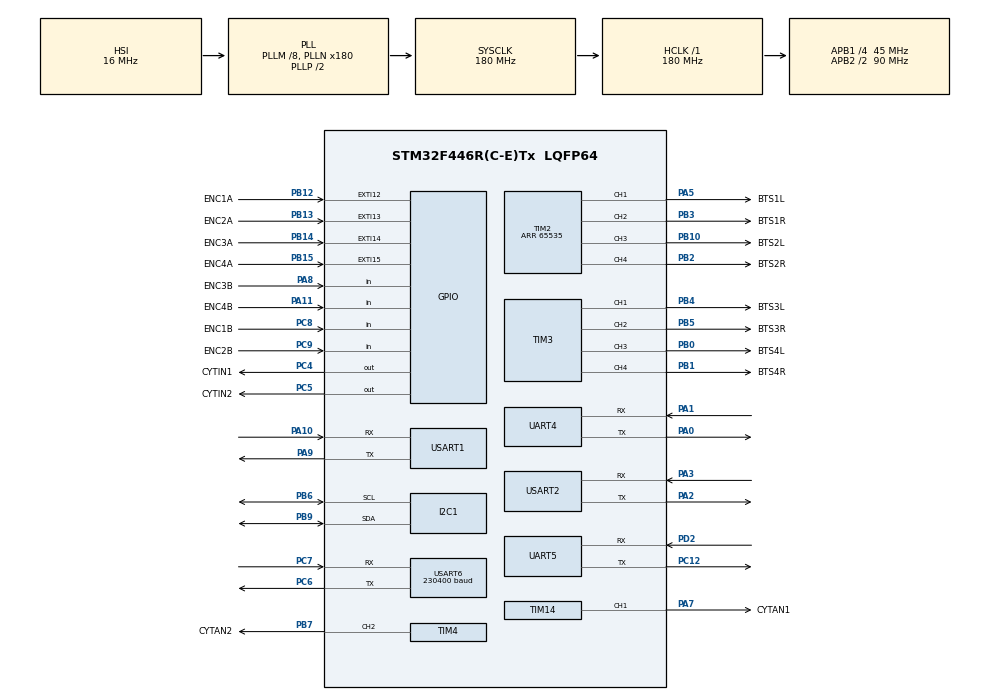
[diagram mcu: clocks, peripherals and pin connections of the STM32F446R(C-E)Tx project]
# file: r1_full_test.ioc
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I2C1.I2C_Mode=I2C_Fast
Mcu.Family=STM32F4
Mcu.Name=STM32F446R(C-E)Tx
Mcu.Package=LQFP64
NVIC.EXTI15_10_IRQn=true\:0\:0\:false\:false\:true\:true\:true\:true
NVIC.PriorityGroup=NVIC_PRIORITYGROUP_4
NVIC.UART4_IRQn=true\:0\:0\:false\:false\:true\:true\:true\:true
PA0-WKUP.Mode=Asynchronous
PA0-WKUP.Signal=UART4_TX
PA1.Mode=Asynchronous
PA1.Signal=UART4_RX
PA10.Mode=Asynchronous
PA10.Signal=USART1_RX
PA11.GPIO_Label=ENC4B
PA11.GPIO_PuPd=GPIO_PULLUP
PA11.Signal=GPIO_Input
PA2.Mode=Asynchronous
PA2.Signal=USART2_TX
PA3.Mode=Asynchronous
PA3.Signal=USART2_RX
PA5.GPIO_Label=BTS1L
PA5.Signal=S_TIM2_CH1_ETR
PA7.GPIO_Label=CYTAN1
PA7.Signal=S_TIM14_CH1
PA8.GPIO_Label=ENC3B
PA8.GPIO_PuPd=GPIO_PULLUP
PA8.Signal=GPIO_Input
PA9.Mode=Asynchronous
PA9.Signal=USART1_TX
PB0.GPIO_Label=BTS4L
PB0.Signal=S_TIM3_CH3
PB1.GPIO_Label=BTS4R
PB1.Signal=S_TIM3_CH4
PB10.GPIO_Label=BTS2L
PB10.Signal=S_TIM2_CH3
PB12.GPIO_Label=ENC1A
PB12.GPIO_PuPd=GPIO_PULLUP
PB12.Signal=GPXTI12
PB13.GPIO_Label=ENC2A
PB13.GPIO_PuPd=GPIO_PULLUP
PB13.Signal=GPXTI13
PB14.GPIO_Label=ENC3A
PB14.GPIO_PuPd=GPIO_PULLUP
PB14.Signal=GPXTI14
PB15.GPIO_Label=ENC4A
PB15.GPIO_PuPd=GPIO_PULLUP
PB15.Signal=GPXTI15
PB2.GPIO_Label=BTS2R
PB2.Signal=S_TIM2_CH4
PB3.GPIO_Label=BTS1R
PB3.Signal=S_TIM2_CH2
PB4.GPIO_Label=BTS3L
PB4.Signal=S_TIM3_CH1
PB5.GPIO_Label=BTS3R
PB5.Signal=S_TIM3_CH2
PB6.Mode=I2C
PB6.Signal=I2C1_SCL
PB7.GPIO_Label=CYTAN2
PB7.Signal=S_TIM4_CH2
PB9.Mode=I2C
PB9.Signal=I2C1_SDA
PC12.Mode=Asynchronous
PC12.Signal=UART5_TX
PC4.GPIO_Label=CYTIN1
PC4.Signal=GPIO_Output
PC5.GPIO_Label=CYTIN2
PC5.Signal=GPIO_Output
PC6.Mode=Asynchronous
PC6.Signal=USART6_TX
PC7.Mode=Asynchronous
PC7.Signal=USART6_RX
PC8.GPIO_Label=ENC1B
PC8.GPIO_PuPd=GPIO_PULLUP
PC8.Signal=GPIO_Input
PC9.GPIO_Label=ENC2B
PC9.GPIO_PuPd=GPIO_PULLUP
PC9.Signal=GPIO_Input
PD2.Mode=Asynchronous
PD2.Signal=UART5_RX
ProjectManager.HeapSize=0x200
ProjectManager.StackSize=0x400
ProjectManager.TargetToolchain=STM32CubeIDE
RCC.AHBFreq_Value=180000000
RCC.APB1CLKDivider=RCC_HCLK_DIV4
RCC.APB1Freq_Value=45000000
RCC.APB1TimFreq_Value=90000000
RCC.APB2CLKDivider=RCC_HCLK_DIV2
RCC.APB2Freq_Value=90000000
RCC.APB2TimFreq_Value=180000000
RCC.CortexFreq_Value=180000000
RCC.HCLKFreq_Value=180000000
RCC.PLLM=8
RCC.PLLN=180
RCC.SYSCLKFreq_VALUE=180000000
RCC.SYSCLKSource=RCC_SYSCLKSOURCE_PLLCLK
RCC.USBFreq_Value=180000000
RCC.VCOOutputFreq_Value=360000000
SH.S_TIM14_CH1.0=TIM14_CH1,PWM Generation1 CH1
SH.S_TIM2_CH1_ETR.0=TIM2_CH1,PWM Generation1 CH1
SH.S_TIM2_CH2.0=TIM2_CH2,PWM Generation2 CH2
SH.S_TIM2_CH3.0=TIM2_CH3,PWM Generation3 CH3
SH.S_TIM2_CH4.0=TIM2_CH4,PWM Generation4 CH4
SH.S_TIM3_CH1.0=TIM3_CH1,PWM Generation1 CH1
SH.S_TIM3_CH2.0=TIM3_CH2,PWM Generation2 CH2
SH.S_TIM3_CH3.0=TIM3_CH3,PWM Generation3 CH3
SH.S_TIM3_CH4.0=TIM3_CH4,PWM Generation4 CH4
SH.S_TIM4_CH2.0=TIM4_CH2,PWM Generation2 CH2
TIM14.Channel=TIM_CHANNEL_1
TIM2.Channel-PWM\ Generation1\ CH1=TIM_CHANNEL_1
TIM2.Channel-PWM\ Generation2\ CH2=TIM_CHANNEL_2
TIM2.Channel-PWM\ Generation3\ CH3=TIM_CHANNEL_3
TIM2.Channel-PWM\ Generation4\ CH4=TIM_CHANNEL_4
TIM2.Period=65535
TIM3.Channel-PWM\ Generation1\ CH1=TIM_CHANNEL_1
TIM3.Channel-PWM\ Generation2\ CH2=TIM_CHANNEL_2
TIM3.Channel-PWM\ Generation3\ CH3=TIM_CHANNEL_3
TIM3.Channel-PWM\ Generation4\ CH4=TIM_CHANNEL_4
TIM4.Channel-PWM\ Generation2\ CH2=TIM_CHANNEL_2
UART4.VirtualMode=Asynchronous
UART5.VirtualMode=Asynchronous
USART1.VirtualMode=VM_ASYNC
USART2.VirtualMode=VM_ASYNC
USART6.BaudRate=230400
USART6.VirtualMode=VM_ASYNC
VP_TIM13_VS_ClockSourceINT.Mode=Enable_Timer
VP_TIM14_VS_ClockSourceINT.Mode=Enable_Timer
VP_TIM3_VS_ClockSourceINT.Mode=Internal
VP_TIM4_VS_ClockSourceINT.Mode=Internal
board=custom

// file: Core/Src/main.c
/* USER CODE BEGIN Header */
/**
 ******************************************************************************
 * @file           : main.c
 * @brief          : Main program body
 ******************************************************************************
 * @attention
 *
 * Copyright (c) 2026 STMicroelectronics.
 * All rights reserved.
 *
 * This software is licensed under terms that can be found in the LICENSE file
 * in the root directory of this software component.
 * If no LICENSE file comes with this software, it is provided AS-IS.
 *
 ******************************************************************************
 */
/* USER CODE END Header */
#include "main.h"

I2C_HandleTypeDef hi2c1;

TIM_HandleTypeDef htim2;
TIM_HandleTypeDef htim3;
TIM_HandleTypeDef htim4;
TIM_HandleTypeDef htim13;
TIM_HandleTypeDef htim14;

UART_HandleTypeDef huart4;
UART_HandleTypeDef huart5;
UART_HandleTypeDef huart1;
UART_HandleTypeDef huart2;
UART_HandleTypeDef huart6;

void SystemClock_Config(void);
static void MX_GPIO_Init(void);
static void MX_USART1_UART_Init(void);
static void MX_I2C1_Init(void);
static void MX_UART4_Init(void);
static void MX_UART5_Init(void);
static void MX_USART2_UART_Init(void);
static void MX_USART6_UART_Init(void);
static void MX_TIM2_Init(void);
static void MX_TIM13_Init(void);
static void MX_TIM3_Init(void);
static void MX_TIM14_Init(void);
static void MX_TIM4_Init(void);

/* USER CODE BEGIN 0 */
uint32_t count1=0,count2=0,count3=0,count4=0;
void HAL_GPIO_EXTI_Callback(uint16_t GPIO_Pin){
	if(GPIO_Pin==ENC1A_Pin){
		if(HAL_GPIO_ReadPin(ENC1B_GPIO_Port, ENC1B_Pin)==1){
			count1++;
		}
		else{
			count1--;
		}
	}
	if(GPIO_Pin==ENC2A_Pin){
		if(HAL_GPIO_ReadPin(ENC2B_GPIO_Port, ENC2B_Pin)==1){
			count2++;
		}
		else{
			count2--;
		}
	}
	if(GPIO_Pin==ENC3A_Pin){
		if(HAL_GPIO_ReadPin(ENC3B_GPIO_Port, ENC3B_Pin)==1){
			count3++;
		}
		else{
			count3--;
		}
	}
	if(GPIO_Pin==ENC4A_Pin){
		if(HAL_GPIO_ReadPin(ENC4B_GPIO_Port, ENC4B_Pin)==1){
			count4++;
		}
		else{
			count4--;
		}
	}
}

// Send printf to uart1
int _write(int fd, char* ptr, int len) {
	HAL_StatusTypeDef hstatus;

	if (fd == 1 || fd == 2) {
		hstatus = HAL_UART_Transmit(&huart2, (uint8_t *) ptr, len, HAL_MAX_DELAY);
		if (hstatus == HAL_OK)
			return len;
		else
			return -1;
	}
	return -1;
}
/* USER CODE END 0 */

int main(void)
{

  /* MCU Configuration--------------------------------------------------------*/

  /* Reset of all peripherals, Initializes the Flash interface and the Systick. */
  HAL_Init();

  /* Configure the system clock */
  SystemClock_Config();

  /* Initialize all configured peripherals */
  MX_GPIO_Init();
  MX_USART1_UART_Init();
  MX_I2C1_Init();
  MX_UART4_Init();
  MX_UART5_Init();
  MX_USART2_UART_Init();
  MX_USART6_UART_Init();
  MX_TIM2_Init();
  MX_TIM13_Init();
  MX_TIM3_Init();
  MX_TIM14_Init();
  MX_TIM4_Init();
  /* USER CODE BEGIN 2 */
	HAL_TIM_PWM_Start(&htim2,TIM_CHANNEL_1);
	HAL_TIM_PWM_Start(&htim2,TIM_CHANNEL_2);
	HAL_TIM_PWM_Start(&htim2,TIM_CHANNEL_3);
	HAL_TIM_PWM_Start(&htim2,TIM_CHANNEL_4);

	HAL_TIM_PWM_Start(&htim3,TIM_CHANNEL_1);
	HAL_TIM_PWM_Start(&htim3,TIM_CHANNEL_2);
	HAL_TIM_PWM_Start(&htim3,TIM_CHANNEL_3);
	HAL_TIM_PWM_Start(&htim3,TIM_CHANNEL_4);
  /* USER CODE END 2 */

  /* Infinite loop */
  /* USER CODE BEGIN WHILE */
	while (1)
	{
		printf("count1 : %d\tcount2 : %d\tcount3 : %d\tcount4 : %d\r\n",count1,count2,count3,count4);
    /* USER CODE END WHILE */

	}
}

void SystemClock_Config(void)
{
  RCC_OscInitTypeDef RCC_OscInitStruct = {0};
  RCC_ClkInitTypeDef RCC_ClkInitStruct = {0};

  /** Configure the main internal regulator output voltage
  */
  __HAL_RCC_PWR_CLK_ENABLE();
  __HAL_PWR_VOLTAGESCALING_CONFIG(PWR_REGULATOR_VOLTAGE_SCALE1);

  /** Initializes the RCC Oscillators according to the specified parameters
  * in the RCC_OscInitTypeDef structure.
  */
  RCC_OscInitStruct.OscillatorType = RCC_OSCILLATORTYPE_HSI;
  RCC_OscInitStruct.HSIState = RCC_HSI_ON;
  RCC_OscInitStruct.HSICalibrationValue = RCC_HSICALIBRATION_DEFAULT;
  RCC_OscInitStruct.PLL.PLLState = RCC_PLL_ON;
  RCC_OscInitStruct.PLL.PLLSource = RCC_PLLSOURCE_HSI;
  RCC_OscInitStruct.PLL.PLLM = 8;
  RCC_OscInitStruct.PLL.PLLN = 180;
  RCC_OscInitStruct.PLL.PLLP = RCC_PLLP_DIV2;
  RCC_OscInitStruct.PLL.PLLQ = 2;
  RCC_OscInitStruct.PLL.PLLR = 2;
  if (HAL_RCC_OscConfig(&RCC_OscInitStruct) != HAL_OK)
  {
    Error_Handler();
  }

  /** Activate the Over-Drive mode
  */
  if (HAL_PWREx_EnableOverDrive() != HAL_OK)
  {
    Error_Handler();
  }

  /** Initializes the CPU, AHB and APB buses clocks
  */
  RCC_ClkInitStruct.ClockType = RCC_CLOCKTYPE_HCLK|RCC_CLOCKTYPE_SYSCLK
                              |RCC_CLOCKTYPE_PCLK1|RCC_CLOCKTYPE_PCLK2;
  RCC_ClkInitStruct.SYSCLKSource = RCC_SYSCLKSOURCE_PLLCLK;
  RCC_ClkInitStruct.AHBCLKDivider = RCC_SYSCLK_DIV1;
  RCC_ClkInitStruct.APB1CLKDivider = RCC_HCLK_DIV4;
  RCC_ClkInitStruct.APB2CLKDivider = RCC_HCLK_DIV2;

  if (HAL_RCC_ClockConfig(&RCC_ClkInitStruct, FLASH_LATENCY_5) != HAL_OK)
  {
    Error_Handler();
  }
}

static void MX_I2C1_Init(void)
{

  hi2c1.Instance = I2C1;
  hi2c1.Init.ClockSpeed = 400000;
  hi2c1.Init.DutyCycle = I2C_DUTYCYCLE_2;
  hi2c1.Init.OwnAddress1 = 0;
  hi2c1.Init.AddressingMode = I2C_ADDRESSINGMODE_7BIT;
  hi2c1.Init.DualAddressMode = I2C_DUALADDRESS_DISABLE;
  hi2c1.Init.OwnAddress2 = 0;
  hi2c1.Init.GeneralCallMode = I2C_GENERALCALL_DISABLE;
  hi2c1.Init.NoStretchMode = I2C_NOSTRETCH_DISABLE;
  if (HAL_I2C_Init(&hi2c1) != HAL_OK)
  {
    Error_Handler();
  }

}

static void MX_TIM2_Init(void)
{

  TIM_MasterConfigTypeDef sMasterConfig = {0};
  TIM_OC_InitTypeDef sConfigOC = {0};

  htim2.Instance = TIM2;
  htim2.Init.Prescaler = 0;
  htim2.Init.CounterMode = TIM_COUNTERMODE_UP;
  htim2.Init.Period = 65535;
  htim2.Init.ClockDivision = TIM_CLOCKDIVISION_DIV1;
  htim2.Init.AutoReloadPreload = TIM_AUTORELOAD_PRELOAD_DISABLE;
  if (HAL_TIM_PWM_Init(&htim2) != HAL_OK)
  {
    Error_Handler();
  }
  sMasterConfig.MasterOutputTrigger = TIM_TRGO_RESET;
  sMasterConfig.MasterSlaveMode = TIM_MASTERSLAVEMODE_DISABLE;
  if (HAL_TIMEx_MasterConfigSynchronization(&htim2, &sMasterConfig) != HAL_OK)
  {
    Error_Handler();
  }
  sConfigOC.OCMode = TIM_OCMODE_PWM1;
  sConfigOC.Pulse = 0;
  sConfigOC.OCPolarity = TIM_OCPOLARITY_HIGH;
  sConfigOC.OCFastMode = TIM_OCFAST_DISABLE;
  if (HAL_TIM_PWM_ConfigChannel(&htim2, &sConfigOC, TIM_CHANNEL_1) != HAL_OK)
  {
    Error_Handler();
  }
  if (HAL_TIM_PWM_ConfigChannel(&htim2, &sConfigOC, TIM_CHANNEL_2) != HAL_OK)
  {
    Error_Handler();
  }
  if (HAL_TIM_PWM_ConfigChannel(&htim2, &sConfigOC, TIM_CHANNEL_3) != HAL_OK)
  {
    Error_Handler();
  }
  if (HAL_TIM_PWM_ConfigChannel(&htim2, &sConfigOC, TIM_CHANNEL_4) != HAL_OK)
  {
    Error_Handler();
  }
  HAL_TIM_MspPostInit(&htim2);

}

static void MX_TIM3_Init(void)
{

  TIM_ClockConfigTypeDef sClockSourceConfig = {0};
  TIM_MasterConfigTypeDef sMasterConfig = {0};
  TIM_OC_InitTypeDef sConfigOC = {0};

  htim3.Instance = TIM3;
  htim3.Init.Prescaler = 0;
  htim3.Init.CounterMode = TIM_COUNTERMODE_UP;
  htim3.Init.Period = 65535;
  htim3.Init.ClockDivision = TIM_CLOCKDIVISION_DIV1;
  htim3.Init.AutoReloadPreload = TIM_AUTORELOAD_PRELOAD_DISABLE;
  if (HAL_TIM_Base_Init(&htim3) != HAL_OK)
  {
    Error_Handler();
  }
  sClockSourceConfig.ClockSource = TIM_CLOCKSOURCE_INTERNAL;
  if (HAL_TIM_ConfigClockSource(&htim3, &sClockSourceConfig) != HAL_OK)
  {
    Error_Handler();
  }
  if (HAL_TIM_PWM_Init(&htim3) != HAL_OK)
  {
    Error_Handler();
  }
  sMasterConfig.MasterOutputTrigger = TIM_TRGO_RESET;
  sMasterConfig.MasterSlaveMode = TIM_MASTERSLAVEMODE_DISABLE;
  if (HAL_TIMEx_MasterConfigSynchronization(&htim3, &sMasterConfig) != HAL_OK)
  {
    Error_Handler();
  }
  sConfigOC.OCMode = TIM_OCMODE_PWM1;
  sConfigOC.Pulse = 0;
  sConfigOC.OCPolarity = TIM_OCPOLARITY_HIGH;
  sConfigOC.OCFastMode = TIM_OCFAST_DISABLE;
  if (HAL_TIM_PWM_ConfigChannel(&htim3, &sConfigOC, TIM_CHANNEL_1) != HAL_OK)
  {
    Error_Handler();
  }
  if (HAL_TIM_PWM_ConfigChannel(&htim3, &sConfigOC, TIM_CHANNEL_2) != HAL_OK)
  {
    Error_Handler();
  }
  if (HAL_TIM_PWM_ConfigChannel(&htim3, &sConfigOC, TIM_CHANNEL_3) != HAL_OK)
  {
    Error_Handler();
  }
  if (HAL_TIM_PWM_ConfigChannel(&htim3, &sConfigOC, TIM_CHANNEL_4) != HAL_OK)
  {
    Error_Handler();
  }
  HAL_TIM_MspPostInit(&htim3);

}

static void MX_TIM4_Init(void)
{

  TIM_ClockConfigTypeDef sClockSourceConfig = {0};
  TIM_MasterConfigTypeDef sMasterConfig = {0};
  TIM_OC_InitTypeDef sConfigOC = {0};

  htim4.Instance = TIM4;
  htim4.Init.Prescaler = 0;
  htim4.Init.CounterMode = TIM_COUNTERMODE_UP;
  htim4.Init.Period = 65535;
  htim4.Init.ClockDivision = TIM_CLOCKDIVISION_DIV1;
  htim4.Init.AutoReloadPreload = TIM_AUTORELOAD_PRELOAD_DISABLE;
  if (HAL_TIM_Base_Init(&htim4) != HAL_OK)
  {
    Error_Handler();
  }
  sClockSourceConfig.ClockSource = TIM_CLOCKSOURCE_INTERNAL;
  if (HAL_TIM_ConfigClockSource(&htim4, &sClockSourceConfig) != HAL_OK)
  {
    Error_Handler();
  }
  if (HAL_TIM_PWM_Init(&htim4) != HAL_OK)
  {
    Error_Handler();
  }
  sMasterConfig.MasterOutputTrigger = TIM_TRGO_RESET;
  sMasterConfig.MasterSlaveMode = TIM_MASTERSLAVEMODE_DISABLE;
  if (HAL_TIMEx_MasterConfigSynchronization(&htim4, &sMasterConfig) != HAL_OK)
  {
    Error_Handler();
  }
  sConfigOC.OCMode = TIM_OCMODE_PWM1;
  sConfigOC.Pulse = 0;
  sConfigOC.OCPolarity = TIM_OCPOLARITY_HIGH;
  sConfigOC.OCFastMode = TIM_OCFAST_DISABLE;
  if (HAL_TIM_PWM_ConfigChannel(&htim4, &sConfigOC, TIM_CHANNEL_2) != HAL_OK)
  {
    Error_Handler();
  }
  HAL_TIM_MspPostInit(&htim4);

}

static void MX_TIM13_Init(void)
{

  htim13.Instance = TIM13;
  htim13.Init.Prescaler = 0;
  htim13.Init.CounterMode = TIM_COUNTERMODE_UP;
  htim13.Init.Period = 65535;
  htim13.Init.ClockDivision = TIM_CLOCKDIVISION_DIV1;
  htim13.Init.AutoReloadPreload = TIM_AUTORELOAD_PRELOAD_DISABLE;
  if (HAL_TIM_Base_Init(&htim13) != HAL_OK)
  {
    Error_Handler();
  }

}

static void MX_TIM14_Init(void)
{

  TIM_OC_InitTypeDef sConfigOC = {0};

  htim14.Instance = TIM14;
  htim14.Init.Prescaler = 0;
  htim14.Init.CounterMode = TIM_COUNTERMODE_UP;
  htim14.Init.Period = 65535;
  htim14.Init.ClockDivision = TIM_CLOCKDIVISION_DIV1;
  htim14.Init.AutoReloadPreload = TIM_AUTORELOAD_PRELOAD_DISABLE;
  if (HAL_TIM_Base_Init(&htim14) != HAL_OK)
  {
    Error_Handler();
  }
  if (HAL_TIM_PWM_Init(&htim14) != HAL_OK)
  {
    Error_Handler();
  }
  sConfigOC.OCMode = TIM_OCMODE_PWM1;
  sConfigOC.Pulse = 0;
  sConfigOC.OCPolarity = TIM_OCPOLARITY_HIGH;
  sConfigOC.OCFastMode = TIM_OCFAST_DISABLE;
  if (HAL_TIM_PWM_ConfigChannel(&htim14, &sConfigOC, TIM_CHANNEL_1) != HAL_OK)
  {
    Error_Handler();
  }
  HAL_TIM_MspPostInit(&htim14);

}

static void MX_UART4_Init(void)
{

  huart4.Instance = UART4;
  huart4.Init.BaudRate = 115200;
  huart4.Init.WordLength = UART_WORDLENGTH_8B;
  huart4.Init.StopBits = UART_STOPBITS_1;
  huart4.Init.Parity = UART_PARITY_NONE;
  huart4.Init.Mode = UART_MODE_TX_RX;
  huart4.Init.HwFlowCtl = UART_HWCONTROL_NONE;
  huart4.Init.OverSampling = UART_OVERSAMPLING_16;
  if (HAL_UART_Init(&huart4) != HAL_OK)
  {
    Error_Handler();
  }

}

static void MX_UART5_Init(void)
{

  huart5.Instance = UART5;
  huart5.Init.BaudRate = 115200;
  huart5.Init.WordLength = UART_WORDLENGTH_8B;
  huart5.Init.StopBits = UART_STOPBITS_1;
  huart5.Init.Parity = UART_PARITY_NONE;
  huart5.Init.Mode = UART_MODE_TX_RX;
  huart5.Init.HwFlowCtl = UART_HWCONTROL_NONE;
  huart5.Init.OverSampling = UART_OVERSAMPLING_16;
  if (HAL_UART_Init(&huart5) != HAL_OK)
  {
    Error_Handler();
  }

}

static void MX_USART1_UART_Init(void)
{

  huart1.Instance = USART1;
  huart1.Init.BaudRate = 115200;
  huart1.Init.WordLength = UART_WORDLENGTH_8B;
  huart1.Init.StopBits = UART_STOPBITS_1;
  huart1.Init.Parity = UART_PARITY_NONE;
  huart1.Init.Mode = UART_MODE_TX_RX;
  huart1.Init.HwFlowCtl = UART_HWCONTROL_NONE;
  huart1.Init.OverSampling = UART_OVERSAMPLING_16;
  if (HAL_UART_Init(&huart1) != HAL_OK)
  {
    Error_Handler();
  }

}

static void MX_USART2_UART_Init(void)
{

  huart2.Instance = USART2;
  huart2.Init.BaudRate = 115200;
  huart2.Init.WordLength = UART_WORDLENGTH_8B;
  huart2.Init.StopBits = UART_STOPBITS_1;
  huart2.Init.Parity = UART_PARITY_NONE;
  huart2.Init.Mode = UART_MODE_TX_RX;
  huart2.Init.HwFlowCtl = UART_HWCONTROL_NONE;
  huart2.Init.OverSampling = UART_OVERSAMPLING_16;
  if (HAL_UART_Init(&huart2) != HAL_OK)
  {
    Error_Handler();
  }

}

static void MX_USART6_UART_Init(void)
{

  huart6.Instance = USART6;
  huart6.Init.BaudRate = 230400;
  huart6.Init.WordLength = UART_WORDLENGTH_8B;
  huart6.Init.StopBits = UART_STOPBITS_1;
  huart6.Init.Parity = UART_PARITY_NONE;
  huart6.Init.Mode = UART_MODE_TX_RX;
  huart6.Init.HwFlowCtl = UART_HWCONTROL_NONE;
  huart6.Init.OverSampling = UART_OVERSAMPLING_16;
  if (HAL_UART_Init(&huart6) != HAL_OK)
  {
    Error_Handler();
  }

}

static void MX_GPIO_Init(void)
{
  GPIO_InitTypeDef GPIO_InitStruct = {0};

  /* GPIO Ports Clock Enable */
  __HAL_RCC_GPIOA_CLK_ENABLE();
  __HAL_RCC_GPIOC_CLK_ENABLE();
  __HAL_RCC_GPIOB_CLK_ENABLE();
  __HAL_RCC_GPIOD_CLK_ENABLE();

  /*Configure GPIO pin Output Level */
  HAL_GPIO_WritePin(GPIOC, CYTIN1_Pin|CYTIN2_Pin, GPIO_PIN_RESET);

  /*Configure GPIO pins : CYTIN1_Pin CYTIN2_Pin */
  GPIO_InitStruct.Pin = CYTIN1_Pin|CYTIN2_Pin;
  GPIO_InitStruct.Mode = GPIO_MODE_OUTPUT_PP;
  GPIO_InitStruct.Pull = GPIO_NOPULL;
  GPIO_InitStruct.Speed = GPIO_SPEED_FREQ_LOW;
  HAL_GPIO_Init(GPIOC, &GPIO_InitStruct);

  /*Configure GPIO pins : ENC1A_Pin ENC2A_Pin ENC3A_Pin ENC4A_Pin */
  GPIO_InitStruct.Pin = ENC1A_Pin|ENC2A_Pin|ENC3A_Pin|ENC4A_Pin;
  GPIO_InitStruct.Mode = GPIO_MODE_IT_RISING;
  GPIO_InitStruct.Pull = GPIO_PULLUP;
  HAL_GPIO_Init(GPIOB, &GPIO_InitStruct);

  /*Configure GPIO pins : ENC1B_Pin ENC2B_Pin */
  GPIO_InitStruct.Pin = ENC1B_Pin|ENC2B_Pin;
  GPIO_InitStruct.Mode = GPIO_MODE_INPUT;
  GPIO_InitStruct.Pull = GPIO_PULLUP;
  HAL_GPIO_Init(GPIOC, &GPIO_InitStruct);

  /*Configure GPIO pins : ENC3B_Pin ENC4B_Pin */
  GPIO_InitStruct.Pin = ENC3B_Pin|ENC4B_Pin;
  GPIO_InitStruct.Mode = GPIO_MODE_INPUT;
  GPIO_InitStruct.Pull = GPIO_PULLUP;
  HAL_GPIO_Init(GPIOA, &GPIO_InitStruct);

  /* EXTI interrupt init*/
  HAL_NVIC_SetPriority(EXTI15_10_IRQn, 0, 0);
  HAL_NVIC_EnableIRQ(EXTI15_10_IRQn);

}

void Error_Handler(void)
{
	__disable_irq();
	while (1)
	{
	}
}
